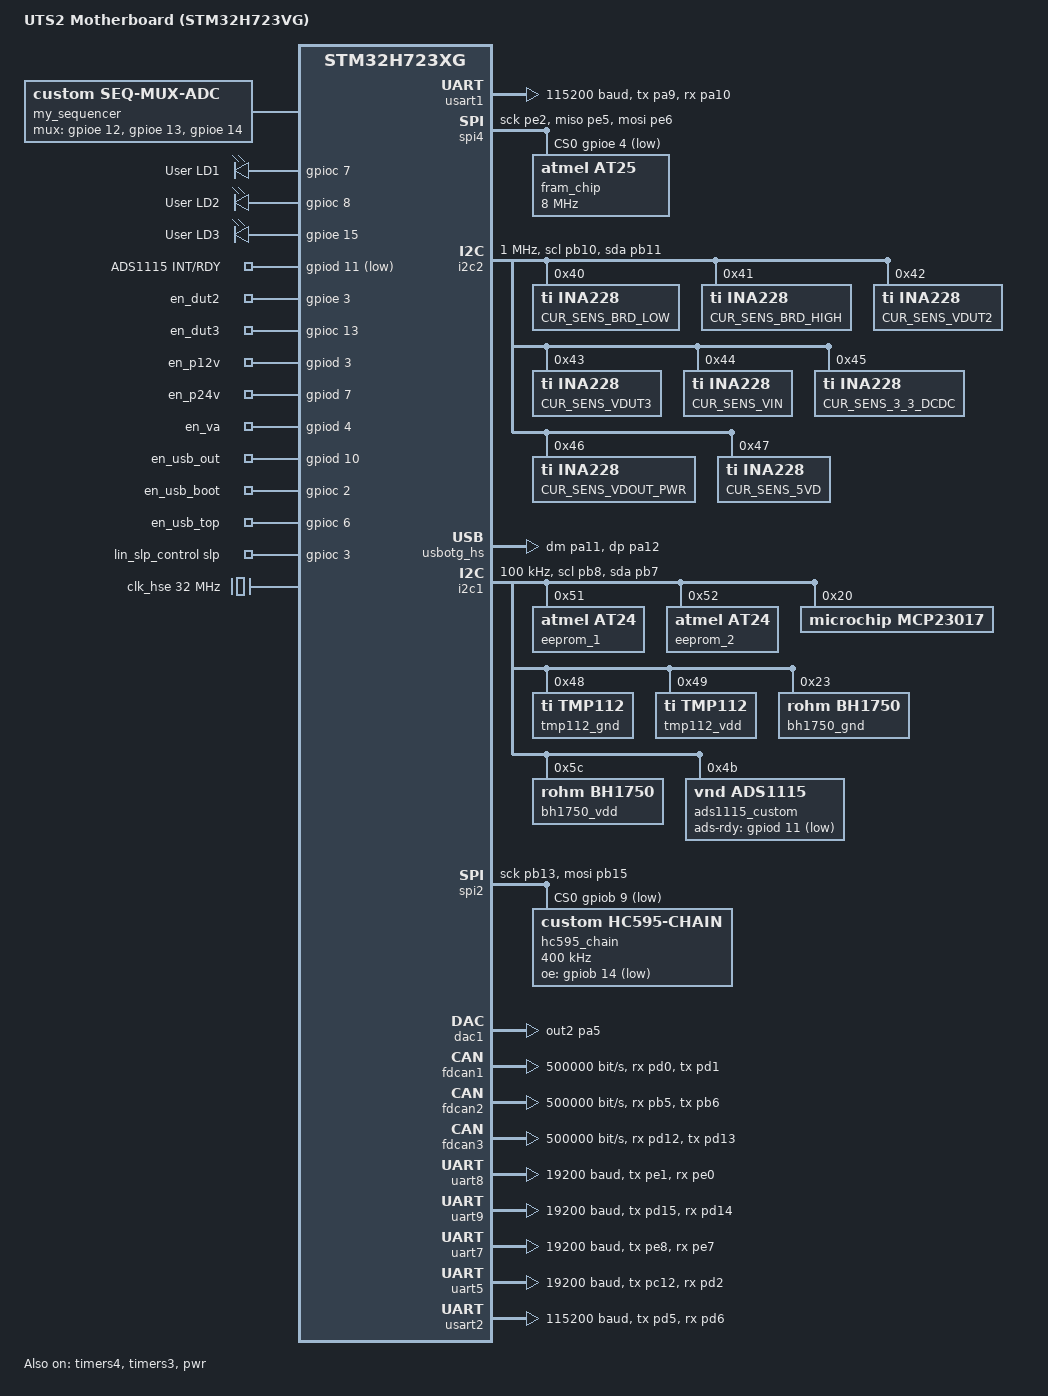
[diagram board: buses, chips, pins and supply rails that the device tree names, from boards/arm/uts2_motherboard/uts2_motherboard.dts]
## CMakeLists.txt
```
# SPDX-License-Identifier: Apache-2.0

cmake_minimum_required(VERSION 3.20.0)


list(APPEND DTS_ROOT ${CMAKE_CURRENT_SOURCE_DIR})

find_package(Zephyr REQUIRED HINTS $ENV{ZEPHYR_BASE})
project(uts2_work)

include(${ZEPHYR_BASE}/samples/subsys/usb/common/common.cmake)

target_compile_definitions(app PRIVATE 
    USE_FULL_ERROR_LIST=1
)

target_include_directories(app PRIVATE 
    src 
    src/drivers
    src/midelware
    src/lib/scpi/libscpi/inc
    src/uts2/spci_interface
    src/uts2/app
    src/uts2
)

file(GLOB_RECURSE APP_SOURCES CONFIGURE_DEPENDS
    "src/drivers/*.c"   
    "src/midelware/*c"  
    "src/uts2/deamons/*c" 
    "src/lib/scpi/libscpi/src/*.c"
    "src/uts2/spci_interface/*.c"
    "src/uts2/app/*.c"
)

target_sources(app PRIVATE 
              
    src/main.c  
     ${APP_SOURCES} 
)

add_subdirectory(drivers/seq_mux_adc)
add_subdirectory(drivers/scan_cont_adc)
add_subdirectory(drivers/hc_595_chain)
```

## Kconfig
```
# Copyright (c) 2023 Nordic Semiconductor ASA
# SPDX-License-Identifier: Apache-2.0

# Source common USB sample options used to initialize new experimental USB
# device stack. The scope of these options is limited to USB samples in project
# tree, you cannot use them in your own application.
source "samples/subsys/usb/common/Kconfig.sample_usbd"

source "Kconfig.zephyr"

source "$(APPLICATION_SOURCE_DIR)/drivers/seq_mux_adc/Kconfig"
```

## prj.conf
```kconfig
# ==============================================================================
# 1. КЭШ И УПРАВЛЕНИЕ ПАМЯТЬЮ (Cache, MPU & Heap)
# ==============================================================================
CONFIG_POLL=y
CONFIG_ZBUS=y
CONFIG_ZBUS_RUNTIME_OBSERVERS=y

# ==============================================================================
# 2. АППАРАТНАЯ ПЕРИФЕРИЯ И ДАТЧИКИ (Hardware Drivers & Sensors)
# ==============================================================================
CONFIG_GPIO=y
CONFIG_PINCTRL=y
CONFIG_PINCTRL_DYNAMIC=y


# ==============================================================================
# 3. DMA И АСИНХРОННЫЙ ВВОД-ВЫВОД (DMA & RTIO)
# ==============================================================================
CONFIG_DMA=y
CONFIG_DMA_STM32=y
CONFIG_DMA_LOG_LEVEL_DBG=y

# ==============================================================================
# 5. USB СТЕК (USBD Next & CDC ACM)
# ==============================================================================
CONFIG_USB_DEVICE_STACK_NEXT=y
CONFIG_USBD_CDC_ACM_CLASS=y
CONFIG_CDC_ACM_SERIAL_INITIALIZE_AT_BOOT=y

CONFIG_SAMPLE_USBD_PID=0x0001
CONFIG_SAMPLE_USBD_PRODUCT="USBD CDC ACM sample"
CONFIG_UDC_BUF_POOL_SIZE=8192

# ==============================================================================
# 6. КОНСОЛЬ SHELL И ИНТЕРФЕЙСЫ ВВОДА-ВЫВОДА (Shell & Console)
# ==============================================================================
CONFIG_SERIAL=y
CONFIG_CONSOLE=y
CONFIG_UART_CONSOLE=y
CONFIG_UART_INTERRUPT_DRIVEN=y
CONFIG_UART_LINE_CTRL=y

#CONFIG_SHELL=y
#CONFIG_SHELL_BACKEND_SERIAL=y
#CONFIG_SHELL_BACKEND_SERIAL_CHECK_DTR=n
#CONFIG_SHELL_VT100_COMMANDS=n
#CONFIG_I2C_SHELL=y
#CONFIG_SENSOR_SHELL=y
#CONFIG_KERNEL_SHELL=y
CONFIG_CONSOLE_SUBSYS=y
CONFIG_CONSOLE_GETCHAR=y

# Поддержка вывода чисел с плавающей точкой (float/double) в консоль
CONFIG_CBPRINTF_FP_SUPPORT=y

# Не выводить системные логи в USB Shell (чистый терминал)
CONFIG_SHELL_LOG_BACKEND=n

# ==============================================================================
# 7. ПОДСИСТЕМА ЛОГИРОВАНИЯ (Logging, Backends & RTT)
# ==============================================================================
CONFIG_LOG=y
# Асинхронный режим, чтобы не нарушать тайминги USB
CONFIG_LOG_BACKEND_RTT_MODE_BLOCK=y
CONFIG_LOG_MODE_DEFERRED=y
CONFIG_SEGGER_RTT_BUFFER_SIZE_UP=4096
CONFIG_LOG_BUFFER_SIZE=4096

# Направлять вызовы printk() через логгер
CONFIG_LOG_PRINTK=y

# Бэкенд 1: Аппаратный UART (ОТКЛЮЧЕН — логи уходят только в RTT)
CONFIG_LOG_BACKEND_UART=n

# Бэкенд 2: SEGGER RTT (SWD)
CONFIG_USE_SEGGER_RTT=y
CONFIG_LOG_BACKEND_RTT=y
CONFIG_LOG_BACKEND_RTT_MODE_DROP=y

# Подавление спама от USB/UART
CONFIG_USBD_CDC_ACM_LOG_LEVEL_OFF=y
CONFIG_UART_LOG_LEVEL_WRN=y

# ==============================================================================
# 8. ОТЛАДКА, МОНИТОРИНГ ПОТОКОВ И СТАТИСТИКА (Debug & Profiling)
# ==============================================================================
CONFIG_DEBUG_OPTIMIZATIONS=n
CONFIG_SPEED_OPTIMIZATIONS=y
CONFIG_DEBUG_THREAD_INFO=y
CONFIG_STACK_USAGE=y

CONFIG_THREAD_MONITOR=y             # Разрешает ядру отслеживать список потоков
CONFIG_THREAD_NAME=y                # Имена потоков
CONFIG_THREAD_RUNTIME_STATS=y       # Статистика реального времени
CONFIG_SCHED_THREAD_USAGE=y         # Подсчет времени работы потоков на CPU
CONFIG_SCHED_THREAD_USAGE_ALL=y     # Собирает общую загрузку системы
CONFIG_THREAD_NAME=y

CONFIG_BUILD_OUTPUT_HEX=y
CONFIG_BUILD_OUTPUT_META=y
CONFIG_OUTPUT_SYMBOLS=y
CONFIG_OUTPUT_STAT=y
CONFIG_OUTPUT_DISASSEMBLY=y
CONFIG_OUTPUT_PRINT_MEMORY_USAGE=y

CONFIG_SYSTEM_WORKQUEUE_STACK_SIZE=4096

CONFIG_CRC=y
```

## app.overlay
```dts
/*
 * Copyright (c) 2021 Nordic Semiconductor ASA
 *
 * SPDX-License-Identifier: Apache-2.0
 */
#include <zephyr/dt-bindings/adc/adc.h>
#include <zephyr/dt-bindings/dma/stm32_dma.h>
#include <zephyr/dt-bindings/pinctrl/stm32-pinctrl.h>
#include "src/board_define.h"

/ {
    chosen {
        zephyr,console = &cdc_acm_uart0;   /* ← Вот эта строка! */
        zephyr,shell-uart = &cdc_acm_uart1;
    };

     my_sequencer: my_sequencer {
        compatible = "custom,seq-mux-adc";
        
        /* 
         * Передаем ссылки на аппаратные блоки таймера и АЦП.
         * Это избавляет наш Си-код драйвера от хардкода.
         */
        adc-dev = <&adc3>;
        timer-dev = <&timers3>;

        /* 
         * Настройка каналов DMA:
         * 1. DMA1 Stream 0: Переключение пинов мультиплексора (Слот 27, TIM3_UP)
         * 2. DMA1 Stream 1: Опрос АЦП3 в циклическом режиме по кругу (Слот 115, ADC3)
         */
        dmas = <&dmamux1 0 23 0>,
               <&dmamux1 1 115 0>;
        dma-names = "seq_dma", "adc_dma";

        /* Ссылка на аппаратный pinctrl управляющих пинов */
        mux-gpios = <&gpiob 0 GPIO_ACTIVE_HIGH>,
                    <&gpiob 13 GPIO_ACTIVE_HIGH>,
                    <&gpiob 14 GPIO_ACTIVE_HIGH>;

        adc-duration-us = <10000>;     /* T1: время АЦП */
        switch-duration-us = <10000>;  /* T2: время переключения */ 

        status = "okay";
    };
};

&zephyr_udc0 {
    cdc_acm_uart0: cdc_acm_uart0 {
        compatible = "zephyr,cdc-acm-uart";
        label = "СDC Console";
    };
	
    cdc_acm_uart1: cdc_acm_uart1 {
        compatible = "zephyr,cdc-acm-uart";
        label = "CDC_ACM_1";
    };
   

};

&pinctrl {
    /* Создаем отдельный узел для каждого пина */
    mux1_adc_vsense: mux1_adc_vsense {
        pinmux = <STM32_PINMUX(MUX1_ADC_VSENSE_PORT, MUX1_ADC_VSENSE_PIN, ANALOG)>;
    };
    mux2_adc_vsense: mux2_adc_vsense {
        pinmux = <STM32_PINMUX(MUX2_ADC_VSENSE_PORT, MUX2_ADC_VSENSE_PIN, ANALOG)>;
    };
    mux3_adc_vsense: mux3_adc_vsense {
        pinmux = <STM32_PINMUX(MUX3_ADC_VSENSE_PORT, MUX3_ADC_VSENSE_PIN, ANALOG)>;
    };
    mux4_adc_vsense: mux4_adc_vsense {
        pinmux = <STM32_PINMUX(MUX4_ADC_VSENSE_PORT, MUX4_ADC_VSENSE_PIN, ANALOG)>;
    };
    mux5_adc_vsense: mux5_adc_vsense {
        pinmux = <STM32_PINMUX(MUX5_ADC_VSENSE_PORT, MUX5_ADC_VSENSE_PIN, ANALOG)>;
    };
};


/* Ссылка на таймер и его дочерний счетчик раскрывается автоматически */
&SEQ_TIMER_NODELABEL {
    status = "okay";
    st,prescaler = <10000>; 
    counter {
        status = "okay";
    };
};

&gpiob {
    status = "okay";
};

/* Включаем АЦП3 в дереве устройств */
&adc3 {
    status = "okay";
    pinctrl-0 = <&mux1_adc_vsense &mux2_adc_vsense &mux3_adc_vsense &mux4_adc_vsense &mux5_adc_vsense>;
    pinctrl-names = "default";
};

&dma1 {
    status = "okay";
};

&dmamux1 {
    status = "okay";
};

&sram4  {
    status = "okay";
};
&i2c1 {
    status = "okay";
    clock-frequency = <400000>; /* 400 kHz (Fast Mode) */

    CUR_SENS_BRD_LOW: ina228@40 {
        compatible = "ti,ina228";
        reg = <0x40>;
        current-lsb-microamps = <10>;
        rshunt-micro-ohms = <50000>;      /* Закрыто корректно: <50000> */
        status = "okay";
    };

    CUR_SENS_BRD_HIGH: ina228@41 {
        compatible = "ti,ina228";
        reg = <0x41>;
        current-lsb-microamps = <10>;
        rshunt-micro-ohms = <50000>;
        status = "okay";
    };

    CUR_SENS_VDUT2: ina228@42 {
        compatible = "ti,ina228";
        reg = <0x42>;
        rshunt-micro-ohms = <500000>;
        current-lsb-microamps = <1>;
        status = "okay";
    };

    CUR_SENS_VDUT3: ina228@43 {
        compatible = "ti,ina228";
        reg = <0x43>;
        rshunt-micro-ohms = <500000>;
        current-lsb-microamps = <1>;
        status = "okay";
    };

    CUR_SENS_VIN: ina228@44 {
        compatible = "ti,ina228";
        reg = <0x44>;
        current-lsb-microamps = <10>;
        rshunt-micro-ohms = <50000>;
        status = "okay";
    };

    CUR_SENS_3_3_DCDC: ina228@45 {
        compatible = "ti,ina228";
        reg = <0x45>;
        current-lsb-microamps = <10>;
        rshunt-micro-ohms = <50000>;
        status = "okay";
    };

    CUR_SENS_VDOUT_PWR: ina228@46 {
        compatible = "ti,ina228";
        reg = <0x46>;                     /* Исправлено совпадение адресов (было 0x45) */
        current-lsb-microamps = <10>;
        rshunt-micro-ohms = <50000>;
        status = "okay";
    };

    CUR_SENS_5VD: ina228@47 {
        compatible = "ti,ina228";
        reg = <0x47>;
        current-lsb-microamps = <10>;
        rshunt-micro-ohms = <50000>;
        status = "okay";
    };
};

&spi1 {
    status = "okay";
    pinctrl-0 = <&spi1_sck_pa5 &spi1_mosi_pa7>;
    pinctrl-names = "default";
    cs-gpios = <&gpioa 4 GPIO_ACTIVE_LOW>;      // Пин защелки Latch (ST_CP)

    hc595_chain: hc595-chain@0 {
        compatible = "vnd,spi-device"; // стандартный виртуальный SPI-узел Zephyr
        reg = <0>;
        spi-max-frequency = <10000000>;
    };
};
/ {
    /* zephyr,user — это стандартный узел для разрозненных пользовательских GPIO [1] */
    zephyr,user {
        oe-gpios = <&gpioa 3 GPIO_ACTIVE_LOW>;
    };
};
```

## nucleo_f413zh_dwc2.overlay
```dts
/*
 * Copyright (c) 2023 Nordic Semiconductor ASA
 *
 * SPDX-License-Identifier: Apache-2.0
 */

/delete-node/ &zephyr_udc0;

/ {
	soc {
		dwc2_fsotg0: usb@50000000 {
			compatible = "st,stm32f4-fsotg", "snps,dwc2";
			reg = <0x50000000 0x40000>;
			interrupts = <67 0>;
			interrupt-names = "fsotg";
			clocks = <&rcc STM32_CLOCK_BUS_AHB2 0x00000080>,
				 <&rcc STM32_SRC_PLL_Q NO_SEL>;
			num-out-eps = <6>;
			num-in-eps = <6>;
			ghwcfg1 = <0x00000000>;
			ghwcfg2 = <0x229ed520>;
			ghwcfg4 = <0x17f08030>;
			status = "disabled";
		};
	};
};

zephyr_udc0: &dwc2_fsotg0 {
	pinctrl-0 = <&usb_otg_fs_dm_pa11 &usb_otg_fs_dp_pa12>;
	pinctrl-names = "default";
	status = "okay";

	cdc_acm_uart0 {
		compatible = "zephyr,cdc-acm-uart";
	};
};

/ {
    chosen {
        zephyr,console = &cdc_acm_uart0;
    };
};
```

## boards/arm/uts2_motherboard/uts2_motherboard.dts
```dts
/*
 * Copyright (c) 2020 Alexander Kozhinov <ak.alexander.kozhinov@gmail.com>
 * SPDX-License-Identifier: Apache-2.0
 */

/dts-v1/;
#include <st/h7/stm32h723Xg.dtsi>
#include <st/h7/stm32h723vgtx-pinctrl.dtsi>


/*
 * WARNING:
 * JP6 and SB72 must be ON when using Ethernet.
 */

/ {
	model = "UTS2 Motherboard (STM32H723VG)";
        compatible = "st,uts2-motherboard";

	chosen {
		zephyr,console = &usart1;
		/*zephyr,shell-uart = &usart1;*/
		zephyr,dtcm = &dtcm;
		zephyr,sram = &sram0;
		zephyr,flash = &flash0;	
	    zephyr,code-partition = &flash0;
	};
    
     scan_adc: scan_adc {
        compatible = "custom,scan-cont-adc";
        
        /* 
         * Передаем ссылки на аппаратные блоки таймера и АЦП.
         * Это избавляет наш Си-код драйвера от хардкода.
         */
        adc-dev = <&adc2>;
        timer-dev = <&timers4>;

        channel-count = <8>;
        dmas = 
               <&dmamux1 2 10 0>;              
        dma-names = "adc_dma";

        /* Ссылка на аппаратный pinctrl управляющих пинов */

        adc-duration-us = <1000>;     /* T1: время АЦП */


        status = "okay";
    };   

    my_sequencer: my_sequencer {
        compatible = "custom,seq-mux-adc";
        
        /* 
         * Передаем ссылки на аппаратные блоки таймера и АЦП.
         * Это избавляет наш Си-код драйвера от хардкода.
         */
        adc-dev = <&adc1>;
        timer-dev = <&timers3>;

        /* 
         * Настройка каналов DMA:
         * 1. DMA1 Stream 0: Переключение пинов мультиплексора (Слот 27, TIM3_UP)
         * 2. DMA1 Stream 1: Опрос АЦП3 в циклическом режиме по кругу (Слот 115, ADC3)
         */
        dmas = <&dmamux1 0 23 0>,
               <&dmamux1 1 9  0>;              
        dma-names = "seq_dma", "adc_dma";

        /* Ссылка на аппаратный pinctrl управляющих пинов */
        mux-gpios = <&gpioe 12 GPIO_ACTIVE_HIGH>,
                    <&gpioe 13 GPIO_ACTIVE_HIGH>,
                    <&gpioe 14 GPIO_ACTIVE_HIGH>;

        adc-duration-us = <60>;     /* T1: время АЦП */
        switch-duration-us = <60>;  /* T2: время переключения */ 

        status = "okay";
    };


	leds: leds {
		compatible = "gpio-leds";

		green_led: led_0 {
			gpios = <&gpioc 7 GPIO_ACTIVE_HIGH>;
			label = "User LD1";
		};

		yellow_led: led_1 {
			gpios = <&gpioc 8 GPIO_ACTIVE_HIGH>;
			label = "User LD2";
		};

		red_led: led_2 {
			gpios = <&gpioe 15 GPIO_ACTIVE_HIGH>;
			label = "User LD3";
		};
	};

		
	aliases {
		led0 = &green_led;
		led1 = &yellow_led;
		led2 = &red_led;	
        uart-detect = &usart2;	
	};
};

&timers4 {
    status = "okay";
    st,prescaler = <10000>;    
    counter {
        status = "okay";
    };
};

&backup_sram {
	status = "okay";
};

&pinctrl {
    /* Создаем отдельный узел для каждого пина */
    mux1_adc_vsense: mux1_adc_vsense {
        pinmux = <STM32_PINMUX('A', 0, ANALOG)>;
    };
    mux2_adc_vsense: mux2_adc_vsense {
        pinmux = <STM32_PINMUX('A', 1, ANALOG)>;
    };
    mux3_adc_vsense: mux3_adc_vsense {
        pinmux = <STM32_PINMUX('A', 2, ANALOG)>;
    };
    mux4_adc_vsense: mux4_adc_vsense {
        pinmux = <STM32_PINMUX('A', 3, ANALOG)>;
    };
    mux5_adc_vsense: mux5_adc_vsense {
        pinmux = <STM32_PINMUX('A', 4, ANALOG)>;
    };
};

/* Ссылка на таймер и его дочерний счетчик раскрывается автоматически */
&timers3 {
    status = "okay";
    st,prescaler = <10000>; 
    counter {
        status = "okay";
    };
};



&gpioa {
    status = "okay";
};

&gpiob {
    status = "okay";
};

&gpioc {
    status = "okay";
};
/* Включаем АЦП3 в дереве устройств */


&dma1 {
    status = "okay";
};


&dmamux1 {
    status = "okay";
};

&sram4  {
    status = "okay";
};

&pwr {
    status = "okay";
};

&clk_lse {
    status = "disabled";
};

&clk_hse {
    status ="okay";
    clock-frequency = <32000000>; /* 32 MHz */
    /* Если у вас по схеме подан генератор (меандр), а не пассивный кварц, раскомментируйте строчку ниже: */
    /* hse-bypass; */
};

&clk_lsi {
	status = "okay";
};

&clk_hsi48 {
	status = "okay";
};

&clk_hsi {
    hsi-div = <1>;
    status = "okay";
}; 


&pll {
	div-m = <2>;
	mul-n = <48>;
	div-p = <2>;
	div-q = <8>;
	div-r = <2>;
	fracn = <0>; 
	clocks = <&clk_hse>;
	status = "okay";
};

&pll2 {
	div-m = <2>;
	mul-n = <12>;
	div-p = <2>;
	div-q = <2>;
	div-r = <2>;
	clocks = <&clk_hse>;
	status = "okay";
};

&rcc {
	clocks = <&pll>;
	clock-frequency = <384000000>;
	d1cpre = <1>;
	hpre = <2>;    /* HCLK: 275   MHz */
	d1ppre = <2>;  /* APB1: 137.5 MHz */
	d2ppre1 = <2>; /* APB2: 137.5 MHz */
	d2ppre2 = <2>; /* APB3: 137.5 MHz */
	d3ppre = <2>;  /* APB4: 137.5 MHz */
	
};

&pwr {
	power-supply = "ldo";
};


&pinctrl {
    usart1_tx_pa9: usart1_tx_pa9 {
        pinmux = <STM32_PINMUX('A', 9, AF7)>;
        bias-pull-up;
    };

    usart1_rx_pa10: usart1_rx_pa10 {
        pinmux = <STM32_PINMUX('A', 10, AF7)>;
    };
};

&usart1 {
    pinctrl-0 = <&usart1_tx_pa9 &usart1_rx_pa10>;
    pinctrl-names = "default";
    current-speed = <115200>;
	tx-rx-swap;
    status = "okay";
};

/ {
    aliases {
        fram0 = &fram_chip;
    };
};

/* Перенаправляем пины для SPI4 на порт E */
&pinctrl {
    spi4_sck_pe2: spi4_sck_pe2 {
        pinmux = <STM32_PINMUX('E', 2, AF5)>; /* AF5 для SPI4 на STM32H7 */
        bias-pull-down;
    };

    spi4_miso_pe5: spi4_miso_pe5 {
        pinmux = <STM32_PINMUX('E', 5, AF5)>;
        bias-pull-down;
    };

    spi4_mosi_pe6: spi4_mosi_pe6 {
        pinmux = <STM32_PINMUX('E', 6, AF5)>;
        bias-pull-down;
    };
};

/* Включаем и настраиваем SPI4 */
&spi4 {
    status = "okay";
    pinctrl-0 = <&spi4_sck_pe2 &spi4_miso_pe5 &spi4_mosi_pe6>;
    pinctrl-names = "default";
    cs-gpios = <&gpioe 4 GPIO_ACTIVE_LOW>;

    fram_chip: mb85rs64@0 {
        compatible = "atmel,at25"; /* <-- СТРОГО atmel,at25 */
        reg = <0>;
        spi-max-frequency = <8000000>;
        size = <8192>;
        pagesize = <1>;
        address-width = <16>;
        timeout = <5>;
    };
};


/* 1. Переопределяем настройки пинов PB10 (SCL) и PB11 (SDA) для I2C2 */
&i2c2_scl_pb10 {
    drive-open-drain;
    bias-pull-up;
};

&i2c2_sda_pb11 {
    drive-open-drain;
    bias-pull-up;
};

&i2c2 {
     status = "okay";
    pinctrl-0 = <&i2c2_scl_pb10 &i2c2_sda_pb11>;
    pinctrl-names = "default";

    /* Включаем аппаратное восстановление шины Zephyr (Bus Recovery) */
    scl-gpios = <&gpiob 10 (GPIO_ACTIVE_HIGH | GPIO_OPEN_DRAIN)>;
    sda-gpios = <&gpiob 11 (GPIO_ACTIVE_HIGH | GPIO_OPEN_DRAIN)>;
    clock-frequency = <I2C_BITRATE_FAST_PLUS>; /* 1 MHz  */
/* Точные тайминги для реально измеренной частоты шины 96 МГц */
    timings = <96000000 I2C_BITRATE_STANDARD  0x20D09BEE>,
              <96000000 I2C_BITRATE_FAST      0x00A0329E>,
              <96000000 I2C_BITRATE_FAST_PLUS 0x00501043>;

    CUR_SENS_BRD_LOW: ina228@40 {
        compatible = "ti,ina228";
        reg = <0x40>;
        current-lsb-microamps = <10>;
        rshunt-micro-ohms = <50000>;      /* Закрыто корректно: <50000> */
        adc-mode = "Bus and shunt voltage continuous";
        vbus-conversion-time-us = <280>;   /* 280 мкс */
        vshunt-conversion-time-us = <280>; /* 280 мкс */
        avg-count = <1>;                   /* 1 выборка без задержек усреднения */
        status = "okay";
    };

    CUR_SENS_BRD_HIGH: ina228@41 {
        compatible = "ti,ina228";
        reg = <0x41>;
        current-lsb-microamps = <10>;
        rshunt-micro-ohms = <50000>;
                adc-mode = "Bus and shunt voltage continuous";
        vbus-conversion-time-us = <280>;   /* 280 мкс */
        vshunt-conversion-time-us = <280>; /* 280 мкс */
        avg-count = <1>;                   /* 1 выборка без задержек усреднения */
        status = "okay";
    };

    CUR_SENS_VDUT2: ina228@42 {
        compatible = "ti,ina228";
        reg = <0x42>;
        rshunt-micro-ohms = <500000>;
                adc-mode = "Bus and shunt voltage continuous";
        vbus-conversion-time-us = <280>;   /* 280 мкс */
        vshunt-conversion-time-us = <280>; /* 280 мкс */
        avg-count = <1>;                   /* 1 выборка без задержек усреднения */
        current-lsb-microamps = <1>;
        status = "okay";
    };

    CUR_SENS_VDUT3: ina228@43 {
        compatible = "ti,ina228";
        reg = <0x43>;
        rshunt-micro-ohms = <500000>;
                adc-mode = "Bus and shunt voltage continuous";
        vbus-conversion-time-us = <280>;   /* 280 мкс */
        vshunt-conversion-time-us = <280>; /* 280 мкс */
        avg-count = <1>;                   /* 1 выборка без задержек усреднения */
        current-lsb-microamps = <1>;
        status = "okay";
    };

    CUR_SENS_VIN: ina228@44 {
        compatible = "ti,ina228";
        reg = <0x44>;
        current-lsb-microamps = <10>;
                adc-mode = "Bus and shunt voltage continuous";
        vbus-conversion-time-us = <280>;   /* 280 мкс */
        vshunt-conversion-time-us = <280>; /* 280 мкс */
        avg-count = <1>;                   /* 1 выборка без задержек усреднения */
        rshunt-micro-ohms = <50000>;
        status = "okay";
    };

    CUR_SENS_3_3_DCDC: ina228@45 {
        compatible = "ti,ina228";
        reg = <0x45>;
        current-lsb-microamps = <1>;
        adc-mode = "Bus and shunt voltage continuous";
        vbus-conversion-time-us = <280>;   /* 280 мкс */
        vshunt-conversion-time-us = <280>; /* 280 мкс */
        avg-count = <1>;                   /* 1 выборка без задержек усреднения */
        rshunt-micro-ohms = <50000>;
        status = "okay";
    };

    CUR_SENS_VDOUT_PWR: ina228@46 {
        compatible = "ti,ina228";
        reg = <0x46>;                     /* Исправлено совпадение адресов (было 0x45) */
        current-lsb-microamps = <10>;
        adc-mode = "Bus and shunt voltage continuous";
        vbus-conversion-time-us = <280>;   /* 280 мкс */
        vshunt-conversion-time-us = <280>; /* 280 мкс */
        avg-count = <1>;                   /* 1 выборка без задержек усреднения */
        rshunt-micro-ohms = <50000>;
        status = "okay";
    };

    CUR_SENS_5VD: ina228@47 {
        compatible = "ti,ina228";
        reg = <0x47>;
        current-lsb-microamps = <10>;
                adc-mode = "Bus and shunt voltage continuous";
        vbus-conversion-time-us = <280>;   /* 280 мкс */
        vshunt-conversion-time-us = <280>; /* 280 мкс */
        avg-count = <1>;                   /* 1 выборка без задержек усреднения */
        rshunt-micro-ohms = <50000>;
        status = "okay";
    };
};

zephyr_udc0: &usbotg_hs {
    pinctrl-0 = <&usb_otg_hs_dm_pa11 &usb_otg_hs_dp_pa12>;
    pinctrl-names = "default";
    status = "okay";

	/delete-property/ vbus-gpios;
    /* Дочерний узел виртуального COM-порта (CDC ACM) */
    cdc_acm_uart0: cdc_acm_uart0 {
        compatible = "zephyr,cdc-acm-uart";
    };
};

&gpiod {
    status = "okay";
};

/{
    aliases {
        adsint = &ads_int_pin;
    };

    ads_interrupt_node {
        compatible = "gpio-keys";
        ads_int_pin: ads_int_pin {
            /* Указываем порт D, пин 11, с подтяжкой к питанию и активным низким уровнем */
            gpios = <&gpiod 11 (GPIO_ACTIVE_LOW | GPIO_PULL_UP)>;
            label = "ADS1115 INT/RDY";
        };
    };
};


/* 1. Переопределяем настройки пинов PB10 (SCL) и PB11 (SDA) для I2C2 */
&i2c1_scl_pb8 {
    drive-open-drain;
    bias-pull-up;
};

&i2c1_sda_pb7 {
    drive-open-drain;
    bias-pull-up;
};

&i2c1 {
    status = "okay";
    pinctrl-0 = <&i2c1_scl_pb8 &i2c1_sda_pb7>; /* Проверь точные имена pinctrl для твоей платы, но логика такая */
    scl-gpios = <&gpiob 8 (GPIO_ACTIVE_HIGH | GPIO_OPEN_DRAIN)>;
    sda-gpios = <&gpiob 7 (GPIO_ACTIVE_HIGH | GPIO_OPEN_DRAIN)>;
    pinctrl-names = "default";
    clock-frequency = <I2C_BITRATE_STANDARD>; /* 400 kHz */


 	eeprom_1: eeprom@51 {
        compatible = "atmel,at24";
        reg = <0x51>;
        size = <256>;          /* 2 Кбит = 256 байт */
        pagesize = <16>;       /* Размер страницы записи 16 байт */
        address-width = <8>;   /* 8-битная адресация внутри чипа */
        timeout = <10>;
        status = "okay";
    };

    /* Вторая EEPROM (адрес 0x52, A1=VDD, A0=GND) */
    eeprom_2: eeprom@52 {
        compatible = "atmel,at24";
        reg = <0x52>;
        size = <256>;
        pagesize = <16>;
        address-width = <8>;
        timeout = <10>;
        status = "okay";
    };


    mcp23017: mcp23017@20 {
        compatible = "microchip,mcp23017";
        status = "okay";
        reg = <0x20>;
        gpio-controller;
        #gpio-cells = <2>;
        ngpios = <16>;
    };

	tmp112_gnd: tmp112@48 {
        compatible = "ti,tmp112";
        reg = <0x48>;
        status = "okay";
    };

    /* Второй TMP112A (ADD0 = VDD) -> адрес 0x49 */
    tmp112_vdd: tmp112@49 {
        compatible = "ti,tmp112";
        reg = <0x49>;
        status = "okay";
    };
	    /* Первый BH1750 (ADDR = GND) -> адрес 0x23 */
    bh1750_gnd: bh1750@23 {
        compatible = "rohm,bh1750";
        reg = <0x23>;
        status = "okay";
    };

    /* Второй BH1750 (ADDR = VDD) -> адрес 0x5C (или 0x38, если уточнишь по сканеру) */
    bh1750_vdd: bh1750@5c {
        compatible = "rohm,bh1750";
        reg = <0x5c>;
        status = "okay";
    };
	  
  ads1115_custom: ads1115@4b {
        compatible = "vnd,ads1115";
        reg = <0x4b>;
        status = "okay";
        
        /* Обязательные параметры по нашей схеме */
        ads-sps = <16>;
        ads-rdy = <&gpiod 11 (GPIO_ACTIVE_LOW | GPIO_PULL_UP)>;
    };
};

&spi2 {
    status = "okay";
    pinctrl-0 = <&spi2_sck_pb13 &spi2_mosi_pb15>;
    pinctrl-names = "default";
    cs-gpios = <&gpiob 9 GPIO_ACTIVE_LOW>;      // Пин защелки Latch (ST_CP)

    hc595_chain: hc595-chain@0 {
        compatible = "custom,hc595-chain";
        reg = <0>;
        spi-max-frequency = <400000>;
        chain-length = <5>;
        oe-gpios = <&gpiob 14 GPIO_ACTIVE_LOW>;  // Пин разрешения выходов OE (активный 0)
    };
};

/ {
    /* Создаем логическую группу выходов */
    enbale_control_switch {
        compatible = "gpio-leds";

        /* Пин включения питания метки №1 */
        en_dut2: en_1 {
            gpios = <&gpioe 3 GPIO_ACTIVE_HIGH>;            
        };
        /* Пин включения питания метки №2 */
        en_dut3: en_2 {
            gpios = <&gpioc 13 GPIO_ACTIVE_HIGH>;            
        };
        /* Пин включения питания +12В */
        en_p12v: en_3 {
            gpios = <&gpiod 3 GPIO_ACTIVE_HIGH>;            
        };
         /* Пин включения питания +12В */
        en_p24v: en_4 {
            gpios = <&gpiod 7 GPIO_ACTIVE_HIGH>;            
        };
        /* Пин  питания аналоговых буфферов */
        en_va: en_5 {
            gpios = <&gpiod 4 GPIO_ACTIVE_HIGH>;            
        };
        /* Пин  питания usb интрефенйсной платы */
        en_usb_out: en_6 {
            gpios = <&gpiod 10 GPIO_ACTIVE_HIGH>;            
        };
        /* Пин  питания usb верхней части двойнгого разъема  */
        en_usb_boot: en_7 {
            gpios = <&gpioc 2 GPIO_ACTIVE_HIGH>;            
        };
        /* Пин  питания usb нижней части двойного платы */
        en_usb_top: en_8 {
            gpios = <&gpioc 6 GPIO_ACTIVE_HIGH>;            
        };
    };
};

&dac1 {
    status = "okay";
    pinctrl-0 = <&dac1_out2_pa5>; /* Переводит PA5 в режим аналогового выхода ЦАП */
    pinctrl-names = "default";
};

&fdcan1 {
    status = "okay";
    /* Настраиваем RX на PD0 и TX на PD1 */
    pinctrl-0 = <&fdcan1_rx_pd0 &fdcan1_tx_pd1>;
    pinctrl-names = "default";
    bitrate = <500000>;

};

&fdcan2 {
    status = "okay";
    /* Настраиваем RX на PB12 и TX на PB13 */
    pinctrl-0 = <&fdcan2_rx_pb5 &fdcan2_tx_pb6>;
    pinctrl-names = "default";
    bitrate = <500000>;
   

};

&fdcan3 {
    status = "okay";
    /* Настраиваем RX на PB12 и TX на PB13 */
    pinctrl-0 = <&fdcan3_rx_pd12 &fdcan3_tx_pd13>;
    pinctrl-names = "default";
    bitrate = <500000>;

};



/ {
    lin_slp_control {
        compatible = "zephyr,user";
        slp-gpios = <&gpioc 3 GPIO_ACTIVE_HIGH>;
    };
};
&gpioc { status = "okay"; };
/* Настраиваем пины и включаем нужные UART-контроллеры */
/* Примечание: имена узлов (&usart1, &uart4 и т.д.) зависят от твоего камня STM32. 
   Здесь показан пример для четырех независимых портов. */

&uart8 {
    current-speed = <19200>;
    pinctrl-0 = <&uart8_tx_pe1 &uart8_rx_pe0>; // Пример для PE0/PE1
    pinctrl-names = "default";
    status = "okay";
};

&uart9 {
    current-speed = <19200>;
    pinctrl-0 = <&uart9_tx_pd15 &uart9_rx_pd14>; // Пример для PD14/PD15
    pinctrl-names = "default";
    status = "okay";
};

&uart7 {
    current-speed = <19200>;
    pinctrl-0 = <&uart7_tx_pe8 &uart7_rx_pe7>; // Пример для PE7/PE8
    pinctrl-names = "default";
    status = "okay";
};

&uart5 {
    current-speed = <19200>;
    pinctrl-0 = <&uart5_tx_pc12 &uart5_rx_pd2>; // Пример для PD2/PC12
    pinctrl-names = "default";
    status = "okay";
};

uart_detect: &usart2 {
    pinctrl-0 = <&usart2_tx_pd5 &usart2_rx_pd6>;
    pinctrl-names = "default";
    current-speed = <115200>;
    status = "okay";
};
```

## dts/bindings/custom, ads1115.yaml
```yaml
description: Custom ADS1115 ADC driver with interrupt and SPS configuration
compatible: "vnd,ads1115"

# Наследуем базовые правила I2C-устройства
include: [i2c-device.yaml]

properties:
  reg:
    required: true
  ads-rdy:
    type: phandle-array
    required: true
    description: Ready/Interrupt GPIO pin
    specifier-space: gpio
  ads-sps:
    type: int
    required: true
    description: Samples per second
```

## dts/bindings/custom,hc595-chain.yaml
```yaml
description: Custom 74HC595 cascaded chain driver

compatible: "custom,hc595-chain"

include: spi-device.yaml

properties:
  chain-length:
    type: int
    required: true
    description: Number of cascaded 74HC595 shift registers in the chain (e.g. 5)

  oe-gpios:
    type: phandle-array
    required: false
    description: GPIO specifier for the OE (Output Enable) pin (active low).
```

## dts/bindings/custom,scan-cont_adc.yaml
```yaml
description: Custom STM32 Timer-triggered DMA-GPIO-ADC Sequencer Driver

compatible: "custom,scan-cont-adc"

# Используем максимально надежный вертикальный формат списков для импорта
include:
  - base.yaml
  - pinctrl-device.yaml

properties:
  adc-dev:
    type: phandle
    required: true

  timer-dev:
    type: phandle
    required: true
     
  adc-duration-us:
    type: int
    required: true


  channel-count:
    type: int
    required: true
```

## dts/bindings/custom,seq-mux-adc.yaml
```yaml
description: Custom STM32 Timer-triggered DMA-GPIO-ADC Sequencer Driver

compatible: "custom,seq-mux-adc"

# Используем максимально надежный вертикальный формат списков для импорта
include:
  - base.yaml
  - pinctrl-device.yaml

properties:
  adc-dev:
    type: phandle
    required: true

  timer-dev:
    type: phandle
    required: true

  mux-gpios:
    type: phandle-array
    required: true
    description: GPIO specifiers for the 3 multiplexer address lines.
     
  adc-duration-us:
    type: int
    required: true

  switch-duration-us:
    type: int
    required: true
```

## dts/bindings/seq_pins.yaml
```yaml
description: Custom Sequencer Pins Device
compatible: "seq-pins"
include: [base.yaml, pinctrl-device.yaml] 
```

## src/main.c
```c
/*
 * Copyright (c) 2016 Intel Corporation
 *
 * SPDX-License-Identifier: Apache-2.0
 */


int main(void)
{
	return 0;
}
```

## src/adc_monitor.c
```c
#include <zephyr/kernel.h>
#include <zephyr/logging/log.h>
#include "param_server.h"

/* Подключаем наш общий Zbus заголовок */
#include "system_data_bus.h"

LOG_MODULE_REGISTER(adc_mon, LOG_LEVEL_INF);

/* 
 * ОПРЕДЕЛЯЕМ ПОДПИСЧИКА.
 * Это создаст очередь сообщений для нашего монитора.
 */
static const uint8_t const param_names[] = {
    AIN_AO1,
    AIN_AO7,
    AIN_AO13,
    AIN_AVsense1,
    AIN_AO2,
    AIN_AO8,
    AIN_AO14,
    AIN_AVsense2,    
    AIN_AO3,
    AIN_AO9,
    AIN_AO15,
    AIN_AVsense3,        
    AIN_AO4,
    AIN_AO10,
    AIN_AO16,
    AIN_AVsense4,
    AIN_AO5,
    AIN_AO11,
    AIN_AO17,
    AIN_AVsense5,
    AIN_AO6,                    
    AIN_AO12,                
    AIN_AO18,
    AIN_AVsense6,
    AIN_DA11_test1,
    AIN_DA20_test1,
    AIN_DA33_test1,
    AIN_DA44_test1,
    AIN_DA11_test2,
    AIN_DA20_test2,
    AIN_DA33_test2,
    AIN_DA44_test2, 
};


K_THREAD_STACK_DEFINE(monitor_stack, 2048);
static struct k_thread monitor_thread_data;

static void adc_monitor_thread_fn(void *p1, void *p2, void *p3)
{
    ARG_UNUSED(p1);
    ARG_UNUSED(p2);
    ARG_UNUSED(p3);

    LOG_INF("Starting State-Reader ADC Monitor Thread...");

    while (1) {
        /* Опрашиваем Zbus раз в 3 секунды */
        k_msleep(3000);

        int ret = 0;
        PARAM_VAL val_ch0, val_ch1, val_ch2, val_ch3;

        LOG_INF("=== [Zbus State Monitor] 32 Channels Test Pattern ===");
        
        for (int step = 0; step < 8; step++) {
            /* 
             * Запрашиваем 4 канала текущего шага из Zbus.
             * На нечетных позициях (0 и 2) лежит VREF в мВ.
             * На четных позициях (1 и 3) лежит Температура в градусах.
             */

             
            ret  = param_get(param_names[step * 4 + 0], &val_ch0);
            ret  = param_get(param_names[step * 4 + 1], &val_ch1);
            ret  = param_get(param_names[step * 4 + 2], &val_ch2);
            ret  = param_get(param_names[step * 4 + 3], &val_ch3);
            

            if (ret == 0) {
                /*
                 * Извлекаем значения из поля .value.integer нашей общей структуры PARAM_VAL.
                 * На нечетных позициях (ch0, ch2) лежит напряжение (uint32_t).
                 * На четных позициях (ch1, ch3) лежит температура (int32_t).
                 */
                uint32_t vref1 = (uint32_t)val_ch0.value.integer;
                int32_t temp1  = (int32_t)val_ch1.value.integer;
                uint32_t vref2 = (uint32_t)val_ch2.value.integer;
                int32_t temp2  = (int32_t)val_ch3.value.integer;

                LOG_INF("Step %d | VREF: %u mV | Temp: %d C | VREF: %u mV | Temp: %d C",
                        step, vref1, temp1, vref2, temp2);
            } else {
                LOG_WRN("Step %d | Data is not ready yet.", step);
            }
        }
    }
}
/* Функция запуска потока монитора */
int adc_monitor_thread_start(void)
{
    k_thread_create(&monitor_thread_data, monitor_stack, 2048,
                    adc_monitor_thread_fn, NULL, NULL, NULL, 11, 0, K_NO_WAIT);
    return 0;
}
```

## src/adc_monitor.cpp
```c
#include "os.h"
#include <zephyr/logging/log.h>

#include "system_bus_model.h"

LOG_MODULE_REGISTER(adc_mon, LOG_LEVEL_INF);

/**
 * @brief Класс монитора АЦП.
 * Наследуемся от os::task, используя CRTP (передаем сам класс как первый параметр шаблона).
 * Стек 2048 байт зашит в шаблон.
 */
class AdcMonitorTask : public os::task<AdcMonitorTask, 2048> {
private:
    // Список параметров выносим в статические данные класса
    static inline const uint8_t param_names[] = {
        AIN_AO1, AIN_AO7, AIN_AO13, AIN_AVsense1,
        AIN_AO2, AIN_AO8, AIN_AO14, AIN_AVsense2,    
        AIN_AO3, AIN_AO9, AIN_AO15, AIN_AVsense3,        
        AIN_AO4, AIN_AO10, AIN_AO16, AIN_AVsense4,
        AIN_AO5, AIN_AO11, AIN_AO17, AIN_AVsense5,
        AIN_AO6, AIN_AO12, AIN_AO18, AIN_AVsense6,
        AIN_DA11_test1, AIN_DA20_test1, AIN_DA33_test1, AIN_DA44_test1,
        AIN_DA11_test2, AIN_DA20_test2, AIN_DA33_test2, AIN_DA44_test2, 
    };

public:
    // Конструктор инициализирует базовый класс (имя задачи, приоритет)
    AdcMonitorTask() : os::task<AdcMonitorTask, 2048>(
        "adc_mon", 
        os::priority::low, // Приоритет 11 в Си-коде соответствует low/normal
        os::opt::start     // Запускать сразу после создания объекта
    ) {}

    /**
     * @brief Основная логика задачи.
     * Аналог функции adc_monitor_thread_fn.
     */
    void task_func() {
        LOG_INF("Starting State-Reader ADC Monitor (C++ Task)...");

        while (true) {
            // Используем метод sleep из базового класса (обертка над k_msleep)
            sleep(3000);

           // PARAM_VAL val[4];
           // LOG_INF("=== [Zbus State Monitor] 32 Channels Test Pattern ===");
            
            for (int step = 0; step < 8; step++) {
                int ret = 0;

                // Получаем 4 канала за итерацию
          /*      for(int i = 0; i < 4; i++) {
                    ret |= param_get((PARAM_ID)param_names[step * 4 + i], &val[i]);
                }

                if (ret == 0) {
                    uint32_t vref1 = (uint32_t)val[0].value.integer;
                    int32_t temp1  = (int32_t)val[1].value.integer;
                    uint32_t vref2 = (uint32_t)val[2].value.integer;
                    int32_t temp2  = (int32_t)val[3].value.integer;

                    LOG_INF("Step %d | VREF: %u mV | Temp: %d C | VREF: %u mV | Temp: %d C",
                            step, vref1, temp1, vref2, temp2);
                } else {
                    LOG_WRN("Step %d | Data is not ready yet.", step);
                }
            }
        }*/
    }
};

// Глобальный (или статический) экземпляр задачи. 
// В C++ конструктор вызовется автоматически, и поток запустится сам.
static AdcMonitorTask adc_monitor_inst __attribute__((section(".dtcm_bss")));;
```

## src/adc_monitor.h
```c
#pragma once

#ifdef __cplusplus
extern "C" {
#endif

int adc_monitor_thread_start(void);

#ifdef __cplusplus
}
#endif
```

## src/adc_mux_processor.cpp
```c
#include "adc_mux_processor.hpp"
#include "coorutines.hpp" // Теперь подключаем полную реализацию корутин для компиляции
#include <zephyr/logging/log.h>
#include "seq_adc_processor.h"


LOG_MODULE_REGISTER(adc_mux_processor, LOG_LEVEL_INF);
// Объявляем, что физически очередь сообщений находится в другом месте (в main.cpp)

// 1. Создаем обычную статическую функцию для вывода лога старта.
// Так как это не корутина, компилятор GCC соберет макрос LOG_INF идеально!
static void log_daemon_started() {
    LOG_INF("Sensor bridge daemon started successfully in separate module!");
}

// 2. Создаем обычную функцию для вывода лога данных
static void log_sensor_data(uint16_t adc_val) {
    LOG_INF("Successfully processed ADC value: %u", adc_val);
}


extern struct k_msgq drv_sensor_msgq;


// Определение единого канала обработанных данных
ZBUS_CHAN_DEFINE(adc_processed_chan,
                 adc_processed_msg_t,
                 NULL,                 /* Без валидатора */
                 NULL,                 /* Без метаданных */
                 ZBUS_OBSERVERS_EMPTY, /* Список статических наблюдателей пуст */
                 ZBUS_MSG_INIT(0)      /* Инициализация нулями */
);

// Реализация корутины
os::DetachedTask<SensorDispatcher> sensor_bridge_daemon(SensorDispatcher& disp) 
{

    seq_mux_adc_msg_t temp_msgq;
    log_daemon_started();

    while (true) {
        // Асинхронно ждем данные из очереди через лаконичный метод диспетчера
        co_await disp.wait_queue(&drv_sensor_msgq, temp_msgq);
        (void)zbus_chan_pub(&adc_processed_chan, &temp_msgq, K_NO_WAIT);
        // Просто выводим полученное значение для проверки работы
        // LOG_INF("Successfully processed ADC value: %u", raw.adc_val);
    }
}
```

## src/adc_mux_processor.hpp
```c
#pragma once
#include <cstddef>
#include <stdint.h>

// МЫ НЕ ПОДКЛЮЧАЕМ "coorutines.hpp" здесь!

namespace os {
    // Предварительное объявление шаблона Dispatcher в пространстве имен os
    template <int MaxEvents, std::size_t PoolSize, std::size_t StackSize>
    class Dispatcher;

    // Предварительное объявление шаблона DetachedTask в пространстве имен os
    template <typename DispatcherType>
    struct DetachedTask;
}

// Конфигурируем и объявляем тип нашего диспетчера SensorDispatcher.
// 1088 байт стека = 1024 базовый стек + 4 события * 16 байт под k_poll_event.
using SensorDispatcher = os::Dispatcher<4, 2048, 1088>;

// Структура сырых данных
struct SensorRawData {
    uint16_t adc_val;
};

// Объявляем сигнатуру нашей функции корутины-моста
os::DetachedTask<SensorDispatcher> sensor_bridge_daemon(SensorDispatcher& disp);
```

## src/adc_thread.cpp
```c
#include <zephyr/kernel.h>
#include "adc_thread.h"
#include <zephyr/logging/log.h>
#include <zephyr/zbus/zbus.h>
#include "global_params.h"
#include "os.h"
#include "mediator.hpp"
/* Подключаем публичный заголовочный файл нашего драйвера */
#include <seq_mux_adc.h>


static const uint32_t r1_resistors[TOTAL_CHANNEL_COUNT] = {
    10000,  10000,  10000,  10000,  // Шаг 0 (AO1, AO7, AO13, AVsense1)
    10000,  10000,  10000,  10000,  // Шаг 1 (AO2, AO8, AO14, AVsense2)
    10000,  10000,  10000,  10000,  // Шаг 2 (AO3 ...)
    10000,  10000,  10000,  10000,  // Шаг 3
    10000,  10000,  10000,  10000,  // Шаг 4
    10000,  10000,  10000,  10000,  // Шаг 5
    47000,  47000,  47000,  47000,  // Шаг 6 (Тестовые каналы DA11..DA44 T1)
    100000, 100000, 100000, 100000  // Шаг 7 (Тестовые каналы DA11..DA44 T2)
};

static const uint32_t r2_resistors[TOTAL_CHANNEL_COUNT] = {
    10000, 10000, 10000, 10000,
    10000, 10000, 10000, 10000,
    10000, 10000, 10000, 10000,
    10000, 10000, 10000, 10000,
    10000, 10000, 10000, 10000,
    10000, 10000, 10000, 10000,
    10000, 10000, 10000, 10000,
    10000, 10000, 10000, 10000
};

static float coefficients[TOTAL_CHANNEL_COUNT];


MEDIATOR_ELEMENT_DEFINE(PARAM_VAL, AIN_AO1, {0});
MEDIATOR_ELEMENT_DEFINE(PARAM_VAL, AIN_AO7, {0});
MEDIATOR_ELEMENT_DEFINE(PARAM_VAL, AIN_AO13, {0});
MEDIATOR_ELEMENT_DEFINE(PARAM_VAL, AIN_AVsense1, {0});
MEDIATOR_ELEMENT_DEFINE(PARAM_VAL, AIN_AO2, {0});
MEDIATOR_ELEMENT_DEFINE(PARAM_VAL, AIN_AO8, {0});
MEDIATOR_ELEMENT_DEFINE(PARAM_VAL, AIN_AO14, {0});
MEDIATOR_ELEMENT_DEFINE(PARAM_VAL, AIN_AVsense2, {0});
MEDIATOR_ELEMENT_DEFINE(PARAM_VAL, AIN_AO3, {0});
MEDIATOR_ELEMENT_DEFINE(PARAM_VAL, AIN_AO9, {0});
MEDIATOR_ELEMENT_DEFINE(PARAM_VAL, AIN_AO15, {0});
MEDIATOR_ELEMENT_DEFINE(PARAM_VAL, AIN_AVsense3, {0});
MEDIATOR_ELEMENT_DEFINE(PARAM_VAL, AIN_AO4, {0});
MEDIATOR_ELEMENT_DEFINE(PARAM_VAL, AIN_AO10, {0});
MEDIATOR_ELEMENT_DEFINE(PARAM_VAL, AIN_AO16, {0});
MEDIATOR_ELEMENT_DEFINE(PARAM_VAL, AIN_AVsense4, {0});
MEDIATOR_ELEMENT_DEFINE(PARAM_VAL, AIN_AO5, {0});
MEDIATOR_ELEMENT_DEFINE(PARAM_VAL, AIN_AO11, {0});
MEDIATOR_ELEMENT_DEFINE(PARAM_VAL, AIN_AO17, {0});
MEDIATOR_ELEMENT_DEFINE(PARAM_VAL, AIN_AVsense5, {0});
MEDIATOR_ELEMENT_DEFINE(PARAM_VAL, AIN_AO6, {0});
MEDIATOR_ELEMENT_DEFINE(PARAM_VAL, AIN_AO12, {0});
MEDIATOR_ELEMENT_DEFINE(PARAM_VAL, AIN_AO18, {0});
MEDIATOR_ELEMENT_DEFINE(PARAM_VAL, AIN_AVsense6, {0});


LOG_MODULE_REGISTER(seq_mux_adc_drv, LOG_LEVEL_INF);

/* Получаем указатель на наш прибор из дерева устройств */





/* Функция-помощник для считывания сырого опорного VREFINT для конкретного шага */
static uint32_t get_vref_raw(const struct device *dev, uint8_t step)
{
    struct seq_mux_adc_api *api = (struct seq_mux_adc_api *)dev->api;
    uint32_t raw_vref = 0;
    // Опорное напряжение VREFINT находится на 2-м канале (индекс step * 4 + 1)
    api->get_channel_value(dev, step * 4 + 1, &raw_vref);
    return raw_vref;
}

class AdcTask : public os::task<AdcTask, AIN_TASK_STACK_SIZE> {
public:
    // Конструктор: инициализирует базовый класс и рассчитывает коэффициенты
    AdcTask();

    // Основной цикл задачи
    void task_func();


 
};


AdcTask::AdcTask() : os::task<AdcTask, AIN_TASK_STACK_SIZE>(
    "adc_pub", 
    static_cast<os::priority>(AIN_TASK_PRIORITY),
    os::opt::start // Не запускаем сразу, ждем вызова из ain_thread_start или системного init
) {
    // Рассчитываем коэффициенты делителей один раз
    for (int i = 0; i < TOTAL_CHANNEL_COUNT; i++) {
        coefficients[i] = (float)(r1_resistors[i] + r2_resistors[i]) / (float)r2_resistors[i];
    }
}


void AdcTask::task_func()
{
static const struct device *const seq_dev = DEVICE_DT_GET(DT_NODELABEL(my_sequencer));
  // Проверяем готовность драйвера перед началом работы
    if (!device_is_ready(seq_dev)) {
         LOG_ERR("Sequencer driver is not ready!");
        return;
    }

    /* Извлекаем интерфейс высокоуровневого API нашего драйвера */
    struct seq_mux_adc_api *api = (struct seq_mux_adc_api *)seq_dev->api;
    struct adc_data_msg msg; 
    
    LOG_INF("Starting ADC3 Real-Time Publisher Thread...");
    k_sleep(K_MSEC(2000));
    
     while (1) {
        // Ждем готовности на семафоре драйвера (весь цикл 32 пересылок окончен)
        int ret = api->wait_for_data(seq_dev, K_FOREVER);
        if (ret < 0) {
            LOG_ERR("Failed to wait for data! Error: %d", ret);
            continue;
        }

        // Выполняем тестовое заполнение буфера
        for (int step = 0; step < 8; step++) {
            uint32_t raw_vref = get_vref_raw(seq_dev, step);
            uint32_t raw_temp = 0;
            api->get_channel_value(seq_dev, step * 4 + 0, &raw_temp); // Датчик температуры — на 1 канале шага (индекс step * 4 + 0)

            // Защита от деления на ноль при неготовности данных
            if (raw_vref == 0 || raw_temp == 0) {
                continue;
            }

            // Вычисляем VDDA (VREF) и Температуру для текущего шага мультиплексора
            uint32_t vdda_mv = __LL_ADC_CALC_VREFANALOG_VOLTAGE(raw_vref, LL_ADC_RESOLUTION_12B);
            int32_t temp_c = __LL_ADC_CALC_TEMPERATURE(vdda_mv, raw_temp, LL_ADC_RESOLUTION_12B);

            uint32_t temp_val = (uint32_t)(temp_c < 0 ? -temp_c : temp_c);


            if (step == 0) {
                msg.vdda_mv = vdda_mv;
                msg.raw_temp = raw_temp;
            }

            PARAM_VAL mediator_msg_mv;
            mediator_msg_mv.value.integer =  vdda_mv;
            PARAM_VAL mediator_msg_tmp;
            mediator_msg_tmp.value.integer = temp_c;
            
           
            os::mediator((PARAM_ID)(AIN_AO1 + step * 4 + 1)).set(mediator_msg_tmp);
            os::mediator((PARAM_ID)(AIN_AO1 + step * 4 + 3)).set(mediator_msg_tmp);                  
            os::mediator((PARAM_ID)(AIN_AO1 + step * 4 + 0) ).set(mediator_msg_mv);
            os::mediator((PARAM_ID)(AIN_AO1 + step * 4 + 2 )).set(mediator_msg_mv);
              
            
            /* 
             * РЕАЛЬНЫЙ КОД ДЛЯ ПРИВЕДЕНИЯ К НАПРЯЖЕНИЮ (закомментирован для тестов по запросу):
             *
             * for (int ch = 0; ch < 4; ch++) {
             *     uint8_t ch_idx = step * 4 + ch;
             *     uint32_t raw_val = 0;
             *     api->get_channel_value(seq_dev, ch_idx, &raw_val);
             *     float v_pin_mv = (float)(raw_val * vdda_mv) / 4095.0f;
             *     msg.channels_mv[ch_idx] = (uint32_t)(v_pin_mv * coefficients[ch_idx]);
             * }
             */
        }

    
    }
}

// РАЗМЕЩЕНИЕ В DTCM: Создаем статический объект задачи в секции быстрой памяти
static AdcTask adc_task_inst;
```

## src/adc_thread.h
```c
#pragma once
#ifdef __cplusplus
extern "C" {
#endif



#include "stdint.h"


#define COMBINATIONS_COUNT 8

#define ADC_NUM_CHANNELS   5
#define ADC_SAMPLES_PER_CH 8
#define ADC_BUF_SIZE       (ADC_NUM_CHANNELS * ADC_SAMPLES_PER_CH)
#define TOTAL_CHANNEL_COUNT ADC_BUF_SIZE 

#define ADC2_BUF_SIZE  8

/* Структура сообщения АЦП */
typedef struct adc_data_msg {
    float channels_mv[TOTAL_CHANNEL_COUNT]; // Наш тестовый буфер (8 шагов * 2 канала)
};

typedef struct adc_scan_msg {
    float channels_mv[ADC2_BUF_SIZE]; // Наш тестовый буфер (8 шагов * 2 канала)
};

#ifdef __cplusplus
}
#endif
```

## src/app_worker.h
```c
/***************************************************************************************************
 *   Project:       IGLA-X
 *   Author:        Dymov Igor
 ***************************************************************************************************
 *   Distribution:  
 *
 ***************************************************************************************************
 *   MCU Family:    STM32Fx / nRF52x
 *   Compiler:      GCC (Zephyr toolchain)
 ***************************************************************************************************
 *   File:          app_worker.h
 *   Description:   Интерфейс системного диспетчера очередей задач (Workqueues)
 *
 ***************************************************************************************************
 *   History:       2026.10.06 - файл создан и оформлен по стандарту
 *
 **************************************************************************************************/
#pragma once

/***************************************************************************************************
 *                                         INCLUDED FILES
 **************************************************************************************************/
#include <zephyr/kernel.h>

#ifdef __cplusplus
extern "C" {
#endif

/***************************************************************************************************
 *                                           DEFINITIONS
 **************************************************************************************************/

/***************************************************************************************************
 *                                          PUBLIC TYPES
 **************************************************************************************************/

/**
 *  @brief Перечисление поддерживаемых типов системных очередей задач (воркеров)
 */
typedef enum worker_type
{
    COMMON_WORKER,    ///< Стандартная очередь задач общего назначения
    REAL_TIME_WORKER  ///< Высокоприоритетная очередь задач реального времени
} worker_type_t;

// Псевдоним для обратной совместимости с legacy-кодом проекта
typedef worker_type_t worker_type;

/***************************************************************************************************
 *                                         GLOBAL VARIABLES
 **************************************************************************************************/

/***************************************************************************************************
 *                                    PUBLIC FUNCTION PROTOTYPES
 **************************************************************************************************/

/// @brief Отправка задачи в очередь
void app_worker_submit(struct k_work *_work, worker_type_t _worker_type);

/// @brief Повторная отправка отложенной задачи в очередь
void app_worker_reschedule_submit(struct k_work_delayable *_delayed_work, 
                                  k_timeout_t _delay, 
                                  worker_type_t _worker_type);

/// @brief Отправка поллинг-задачи в очередь
void app_worker_poll_submit(struct k_work_poll *_work, 
                            struct k_poll_event *_poll_event, 
                            worker_type_t _worker_type);

#ifdef __cplusplus
}
#endif

/***************************************************************************************************
 *                                           END OF FILE
 **************************************************************************************************/
```
